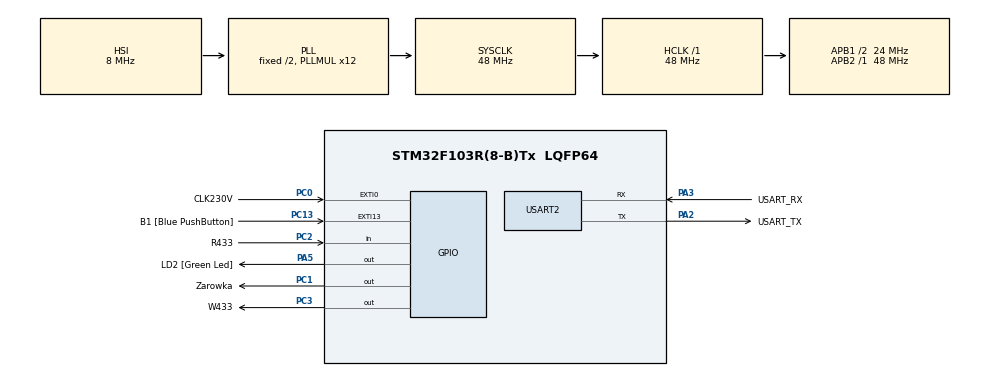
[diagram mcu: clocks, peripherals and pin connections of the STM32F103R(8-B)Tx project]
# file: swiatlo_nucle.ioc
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Mcu.Family=STM32F1
Mcu.Name=STM32F103R(8-B)Tx
Mcu.Package=LQFP64
NVIC.EXTI0_IRQn=true\:0\:0\:false\:false\:true\:true
NVIC.EXTI15_10_IRQn=true\:0\:0\:false\:false\:true\:true
NVIC.PriorityGroup=NVIC_PRIORITYGROUP_4
NVIC.TIM4_IRQn=true\:0\:0\:false\:false\:true\:true
PA13.GPIO_Label=TMS
PA13.Mode=Serial_Wire
PA13.Signal=SYS_JTMS-SWDIO
PA14.GPIO_Label=TCK
PA14.Mode=Serial_Wire
PA14.Signal=SYS_JTCK-SWCLK
PA2.GPIO_Label=USART_TX
PA2.GPIO_Mode=GPIO_MODE_AF_PP
PA2.GPIO_PuPd=GPIO_NOPULL
PA2.GPIO_Speed=GPIO_SPEED_FREQ_LOW
PA2.Mode=Asynchronous
PA2.Signal=USART2_TX
PA3.GPIO_Label=USART_RX
PA3.GPIO_Mode=GPIO_MODE_AF_PP
PA3.GPIO_PuPd=GPIO_NOPULL
PA3.GPIO_Speed=GPIO_SPEED_FREQ_LOW
PA3.Mode=Asynchronous
PA3.Signal=USART2_RX
PA5.GPIO_Label=LD2 [Green Led]
PA5.GPIO_ModeDefaultOutputPP=GPIO_MODE_OUTPUT_PP
PA5.GPIO_PuPd=GPIO_NOPULL
PA5.GPIO_Speed=GPIO_SPEED_FREQ_LOW
PA5.Signal=GPIO_Output
PB3.GPIO_Label=SWO
PB3.Signal=SYS_JTDO-TRACESWO
PC0.GPIO_Label=CLK230V
PC0.GPIO_ModeDefaultEXTI=GPIO_MODE_IT_FALLING
PC0.GPIO_PuPd=GPIO_PULLUP
PC0.Signal=GPXTI0
PC1.GPIO_Label=Zarowka
PC1.Signal=GPIO_Output
PC13-TAMPER-RTC.GPIO_Label=B1 [Blue PushButton]
PC13-TAMPER-RTC.GPIO_PuPd=GPIO_NOPULL
PC13-TAMPER-RTC.Signal=GPXTI13
PC14-OSC32_IN.Mode=LSE-External-Oscillator
PC14-OSC32_IN.Signal=RCC_OSC32_IN
PC15-OSC32_OUT.Mode=LSE-External-Oscillator
PC15-OSC32_OUT.Signal=RCC_OSC32_OUT
PC2.GPIO_Label=R433
PC2.Signal=GPIO_Input
PC3.GPIO_Label=W433
PC3.Signal=GPIO_Output
PD0-OSC_IN.Mode=HSE-External-Clock-Source
PD0-OSC_IN.Signal=RCC_OSC_IN
PD1-OSC_OUT.Mode=HSE-External-Clock-Source
PD1-OSC_OUT.Signal=RCC_OSC_OUT
ProjectManager.HeapSize=0x200
ProjectManager.StackSize=0x400
ProjectManager.TargetToolchain=TrueSTUDIO
RCC.AHBFreq_Value=48000000
RCC.APB1CLKDivider=RCC_HCLK_DIV2
RCC.APB1Freq_Value=24000000
RCC.APB1TimFreq_Value=48000000
RCC.APB2Freq_Value=48000000
RCC.APB2TimFreq_Value=48000000
RCC.HCLKFreq_Value=48000000
RCC.PLLMUL=RCC_PLL_MUL12
RCC.RTCClockSelection=RCC_RTCCLKSOURCE_LSE
RCC.SYSCLKFreq_VALUE=48000000
RCC.SYSCLKSource=RCC_SYSCLKSOURCE_PLLCLK
RCC.USBFreq_Value=48000000
TIM4.Period=36
TIM4.Prescaler=130
USART2.VirtualMode=VM_ASYNC
VP_TIM4_VS_ClockSourceINT.Mode=Internal
VP_TIM4_VS_ClockSourceITR.Mode=TriggerSource_ITR0
VP_TIM4_VS_ControllerModeReset.Mode=Reset Mode
board=NUCLEO-F103RB

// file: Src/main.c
/**
 ******************************************************************************
 * @file           : main.c
 * @brief          : Main program body
 ******************************************************************************
 ** This notice applies to any and all portions of this file
 * that are not between comment pairs USER CODE BEGIN and
 * USER CODE END. Other portions of this file, whether
 * inserted by the user or by software development tools
 * are owned by their respective copyright owners.
 *
 * COPYRIGHT(c) 2018 STMicroelectronics
 *
 * Redistribution and use in source and binary forms, with or without modification,
 * are permitted provided that the following conditions are met:
 *   1. Redistributions of source code must retain the above copyright notice,
 *      this list of conditions and the following disclaimer.
 *   2. Redistributions in binary form must reproduce the above copyright notice,
 *      this list of conditions and the following disclaimer in the documentation
 *      and/or other materials provided with the distribution.
 *   3. Neither the name of STMicroelectronics nor the names of its contributors
 *      may be used to endorse or promote products derived from this software
 *      without specific prior written permission.
 *
 * THIS SOFTWARE IS PROVIDED BY THE COPYRIGHT HOLDERS AND CONTRIBUTORS "AS IS"
 * AND ANY EXPRESS OR IMPLIED WARRANTIES, INCLUDING, BUT NOT LIMITED TO, THE
 * IMPLIED WARRANTIES OF MERCHANTABILITY AND FITNESS FOR A PARTICULAR PURPOSE ARE
 * DISCLAIMED. IN NO EVENT SHALL THE COPYRIGHT HOLDER OR CONTRIBUTORS BE LIABLE
 * FOR ANY DIRECT, INDIRECT, INCIDENTAL, SPECIAL, EXEMPLARY, OR CONSEQUENTIAL
 * DAMAGES (INCLUDING, BUT NOT LIMITED TO, PROCUREMENT OF SUBSTITUTE GOODS OR
 * SERVICES; LOSS OF USE, DATA, OR PROFITS; OR BUSINESS INTERRUPTION) HOWEVER
 * CAUSED AND ON ANY THEORY OF LIABILITY, WHETHER IN CONTRACT, STRICT LIABILITY,
 * OR TORT (INCLUDING NEGLIGENCE OR OTHERWISE) ARISING IN ANY WAY OUT OF THE USE
 * OF THIS SOFTWARE, EVEN IF ADVISED OF THE POSSIBILITY OF SUCH DAMAGE.
 *
 ******************************************************************************
 */
#include "main.h"
#include "stm32f1xx_hal.h"
#include "tim.h"
#include "usart.h"
#include "gpio.h"

/* USER CODE BEGIN Includes */
#include "Radio_433.h"
#include "swiatlo.h"
/* USER CODE END Includes */

/* USER CODE BEGIN PV */
/* Private variables ---------------------------------------------------------*/

/* USER CODE END PV */

void SystemClock_Config(void);

/* USER CODE BEGIN PFP */
/* Private function prototypes -----------------------------------------------*/

/* USER CODE END PFP */

/* USER CODE BEGIN 0 */
int _write(int file, char*ptr, int len) {
	HAL_UART_Transmit(&huart2, ptr, len, 50);
	return len;
}

void HAL_GPIO_EXTI_Callback(uint16_t GPIO_Pin) {
	if (GPIO_Pin == CLK230V_Pin) {
		flag_clk230V = 1;  //synchonizacja z siecia
		//zegar_swiatlo = REG_DETEKCJI;

		//HAL_GPIO_TogglePin(LD2_GPIO_Port,LD2_Pin);

	}

}

void HAL_TIM_PeriodElapsedCallback(TIM_HandleTypeDef *htim) {
	//if (htim == &htim3) {

	//}
	if (htim == &htim4) {
		podstawa_czasowa_kominikacji();
		obsluga_jasnosci();

		//obsluga_nadawania();
	}
	//if (htim == &htim17) {
	//}
}
/* USER CODE END 0 */

int main(void) {

	/* MCU Configuration----------------------------------------------------------*/

	/* Reset of all peripherals, Initializes the Flash interface and the Systick. */
	HAL_Init();

	/* Configure the system clock */
	SystemClock_Config();

	/* Initialize all configured peripherals */
	MX_GPIO_Init();
	MX_USART2_UART_Init();
	MX_TIM4_Init();
	/* USER CODE BEGIN 2 */
	HAL_TIM_Base_Start_IT(&htim4);
	//HAL_TIM_Base_Start_IT(&htim3);

	/* USER CODE END 2 */

	/* Infinite loop */
	/* USER CODE BEGIN WHILE */
	volatile int dana = 0;
	volatile int dana2 = 0;

	while (1) {

//nadaj_433(200,221);
//HAL_Delay(2000);
		if (flaga_odbierania == 2) {
			printf("odebrano: %d, %d \r\n", odebrano[0], odebrano[1]);

			HAL_GPIO_TogglePin(LD2_GPIO_Port, LD2_Pin);
			//zmien_jasnosc(100, 50);

			if (odebrano[0] == 58 && odebrano[1] == 100) {
				zgas_swiatlo(15);

				HAL_Delay(100);
				nadaj_433(200, 21);
			}
			if (odebrano[0] == 58 && odebrano[1] == 101) {
				zapal_swiatlo(15);

				HAL_Delay(100);
				nadaj_433(200, 22);
			}
			if (odebrano[0] == 58 && odebrano[1] >=102) {
				zmien_jasnosc(30, odebrano[1]-102);

				HAL_Delay(100);
				nadaj_433(200, 22);
			}

			odebrano[0] = 0;
			odebrano[1] = 0;
			flaga_odbierania = 1;
			tryb_odbierania = 0;

		}
		dana++;
		if (dana == 10) {
			dana = 0;
			//obsluga_jasnosci();
			//HAL_Delay(300);
//nadaj_433(210,212);

		}
		/* USER CODE END WHILE */

	}

}

void SystemClock_Config(void) {

	RCC_OscInitTypeDef RCC_OscInitStruct;
	RCC_ClkInitTypeDef RCC_ClkInitStruct;

	/**Initializes the CPU, AHB and APB busses clocks
	 */
	RCC_OscInitStruct.OscillatorType = RCC_OSCILLATORTYPE_HSI;
	RCC_OscInitStruct.HSIState = RCC_HSI_ON;
	RCC_OscInitStruct.HSICalibrationValue = 16;
	RCC_OscInitStruct.PLL.PLLState = RCC_PLL_ON;
	RCC_OscInitStruct.PLL.PLLSource = RCC_PLLSOURCE_HSI_DIV2;
	RCC_OscInitStruct.PLL.PLLMUL = RCC_PLL_MUL12;
	if (HAL_RCC_OscConfig(&RCC_OscInitStruct) != HAL_OK) {
		_Error_Handler(__FILE__, __LINE__);
	}

	/**Initializes the CPU, AHB and APB busses clocks
	 */
	RCC_ClkInitStruct.ClockType = RCC_CLOCKTYPE_HCLK | RCC_CLOCKTYPE_SYSCLK
			| RCC_CLOCKTYPE_PCLK1 | RCC_CLOCKTYPE_PCLK2;
	RCC_ClkInitStruct.SYSCLKSource = RCC_SYSCLKSOURCE_PLLCLK;
	RCC_ClkInitStruct.AHBCLKDivider = RCC_SYSCLK_DIV1;
	RCC_ClkInitStruct.APB1CLKDivider = RCC_HCLK_DIV2;
	RCC_ClkInitStruct.APB2CLKDivider = RCC_HCLK_DIV1;

	if (HAL_RCC_ClockConfig(&RCC_ClkInitStruct, FLASH_LATENCY_1) != HAL_OK) {
		_Error_Handler(__FILE__, __LINE__);
	}

	/**Configure the Systick interrupt time
	 */
	HAL_SYSTICK_Config(HAL_RCC_GetHCLKFreq() / 1000);

	/**Configure the Systick
	 */
	HAL_SYSTICK_CLKSourceConfig(SYSTICK_CLKSOURCE_HCLK);

	/* SysTick_IRQn interrupt configuration */
	HAL_NVIC_SetPriority(SysTick_IRQn, 0, 0);
}

void _Error_Handler(char *file, int line) {
	while (1) {
	}
}

/************************ (C) COPYRIGHT STMicroelectronics *****END OF FILE****/
